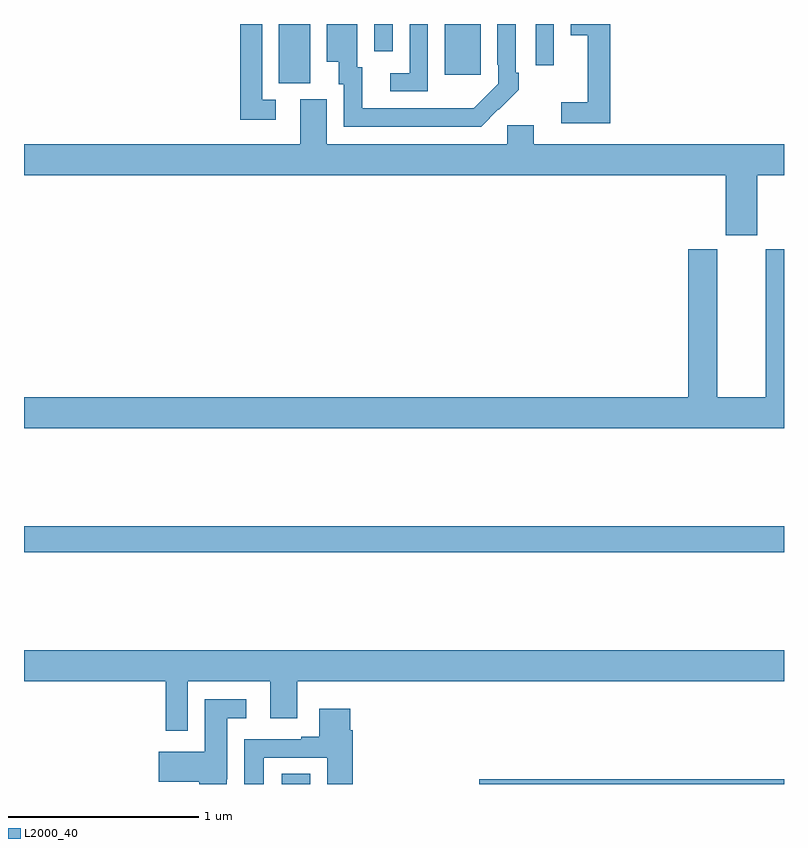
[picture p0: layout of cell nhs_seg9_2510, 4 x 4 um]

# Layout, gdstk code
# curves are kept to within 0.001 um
import gdstk
lib = gdstk.Library(unit=1e-6, precision=1e-09)
def R(c, l, rs):  # rectangles x0, y0, x1, y1
    for r in rs: c.add(gdstk.rectangle(r[:2], r[2:], *l))
def P(c, l, *ps):  # polygons
    for p in ps: c.add(gdstk.Polygon(p, *l))
L2000_40 = (2000, 40)

nhs_seg9_2510 = lib.new_cell('nhs_seg9_2510')
R(nhs_seg9_2510, L2000_40, [(254.357,1242.5,254.506,1242.554), (255.395,1242.5,257,1242.524), (253,1243.72,257,1243.856), (254.342,1246.189,254.506,1246.5), (255.215,1246.233,255.403,1246.5), (255.693,1246.284,255.789,1246.5), (254.844,1246.356,254.94,1246.5)])
P(nhs_seg9_2510, L2000_40, [(256.085,1246.5),(255.878,1246.5),(255.878,1246.442),(255.968,1246.442),(255.968,1246.087),(255.828,1246.087),(255.828,1245.978),(256.085,1245.978)],
  [(254.326,1246.101),(254.253,1246.101),(254.253,1246.5),(254.137,1246.5),(254.137,1245.996),(254.326,1245.996)],
  [(255.126,1246.5),(255.03,1246.5),(255.03,1246.242),(254.928,1246.242),(254.928,1246.146),(255.126,1246.146)],
  [(255.497,1246.051),(255.498,1246.05),(255.603,1246.155),(255.603,1246.243),(255.588,1246.243),(255.588,1246.5),(255.492,1246.5),(255.492,1246.285),(255.495,1246.285),(255.495,1246.185),(255.367,1246.057),(255.263,1246.056),(254.779,1246.056),(254.779,1246.272),(254.755,1246.272),(254.755,1246.498),(254.594,1246.498),(254.594,1246.301),(254.657,1246.301),(254.657,1246.182),(254.682,1246.182),(254.682,1245.96),(255.406,1245.96)],
  [(256.858,1245.704),(257,1245.704),(257,1245.868),(255.682,1245.868),(255.682,1245.966),(255.543,1245.966),(255.543,1245.868),(254.593,1245.868),(254.593,1246.104),(254.453,1246.104),(254.453,1245.868),(253,1245.868),(253,1245.704),(256.694,1245.704),(256.694,1245.387),(256.858,1245.387)],
  [(257,1245.315),(256.904,1245.315),(256.904,1244.536),(256.648,1244.536),(256.648,1245.315),(256.496,1245.315),(256.496,1244.536),(253,1244.536),(253,1244.372),(257,1244.372)],
  [(253.863,1243.04),(254.297,1243.04),(254.297,1242.846),(254.437,1242.846),(254.437,1243.04),(257,1243.04),(257,1243.204),(253,1243.204),(253,1243.04),(253.747,1243.04),(253.747,1242.78),(253.863,1242.78)],
  [(254.067,1242.526),(254.071,1242.526),(254.071,1242.845),(254.17,1242.845),(254.17,1242.946),(253.952,1242.946),(253.952,1242.67),(253.71,1242.67),(253.71,1242.512),(253.922,1242.512),(253.922,1242.5),(254.067,1242.5)],
  [(254.263,1242.639),(254.597,1242.639),(254.597,1242.5),(254.729,1242.5),(254.729,1242.782),(254.716,1242.782),(254.716,1242.895),(254.555,1242.895),(254.555,1242.748),(254.459,1242.748),(254.459,1242.735),(254.159,1242.735),(254.159,1242.5),(254.263,1242.5)])

lib.write_gds('nhs_seg9_2510.gds')
